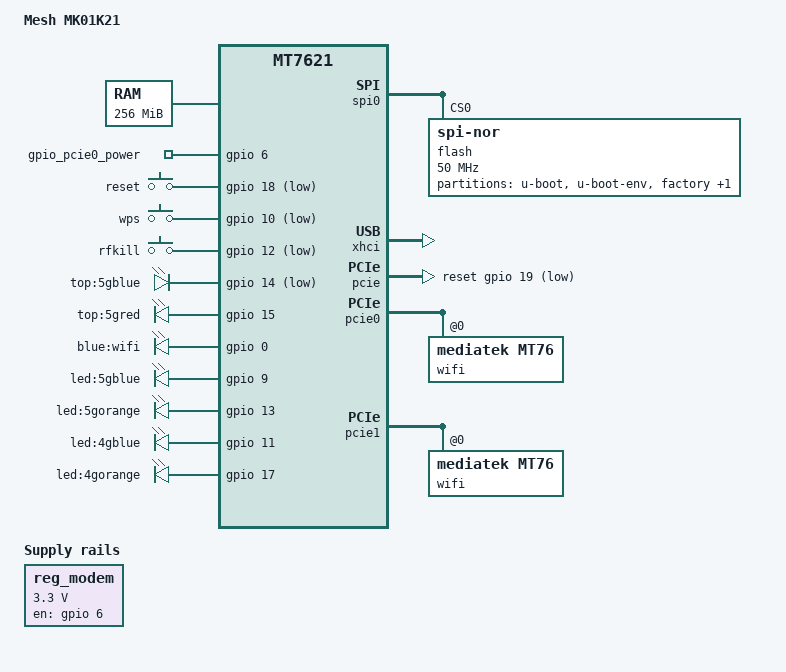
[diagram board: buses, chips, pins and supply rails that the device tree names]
// SPDX-License-Identifier: GPL-2.0-or-later OR MIT
/dts-v1/;

#include "mt7621.dtsi"

#include <dt-bindings/gpio/gpio.h>
#include <dt-bindings/input/input.h>
#include <dt-bindings/leds/common.h>

/ {
	compatible = "mesh,mk01k21", "mediatek,mt7621-soc";
	model = "Mesh MK01K21";

	aliases {
		led-boot = &led_top_5gblue;
		led-failsafe = &led_top_5gred;
		led-running = &led_top_5gblue;
		led-upgrade = &led_top_5gred;
		label-mac-device = &gmac0;
	};

	chosen {
		bootargs = "console=ttyS0,115200";
	};

	memory@0 {
		device_type = "memory";
		reg = <0x00000000 0x10000000>; /* 256MB DDR3 */
	};

	/* Modem Power Supply (GPIO 6 Active HIGH) */
	reg_modem: regulator-modem {
		compatible = "regulator-fixed";
		regulator-name = "modem_power";
		regulator-min-microvolt = <3300000>;
		regulator-max-microvolt = <3300000>;
		gpio = <&gpio 6 GPIO_ACTIVE_HIGH>;
		enable-active-high;
		regulator-always-on;
		regulator-boot-on;
	};

	/* OEM gpio-export compatibility node */
	gpio-export {
		compatible = "gpio-export";

		gpio_pcie0_power {
			gpio-export,output = <0>;
			gpios = <&gpio 6 GPIO_ACTIVE_HIGH>;
		};
	};

	/* Keys identical to OEM DTS */
	keys {
		compatible = "gpio-keys";

		reset {
			label = "reset";
			gpios = <&gpio 18 GPIO_ACTIVE_LOW>;
			linux,code = <KEY_RESTART>;
		};

		wps {
			label = "wps";
			gpios = <&gpio 10 GPIO_ACTIVE_LOW>;
			linux,code = <KEY_WPS_BUTTON>;
		};

		rfkill {
			label = "rfkill";
			gpios = <&gpio 12 GPIO_ACTIVE_LOW>;
			linux,code = <KEY_RFKILL>;
		};
	};

	/* LEDs identical to OEM DTS */
	leds {
		compatible = "gpio-leds";

		led_top_5gblue: status {
			label = "top:5gblue";
			gpios = <&gpio 14 GPIO_ACTIVE_LOW>;
		};

		led_top_5gred: 5gred {
			label = "top:5gred";
			gpios = <&gpio 15 GPIO_ACTIVE_HIGH>;
		};

		wifi {
			label = "blue:wifi";
			gpios = <&gpio 0 GPIO_ACTIVE_HIGH>;
		};

		5gblue {
			label = "led:5gblue";
			gpios = <&gpio 9 GPIO_ACTIVE_HIGH>;
		};

		5gorange {
			label = "led:5gorange";
			gpios = <&gpio 13 GPIO_ACTIVE_HIGH>;
		};

		4gblue {
			label = "led:4gblue";
			gpios = <&gpio 11 GPIO_ACTIVE_HIGH>;
		};

		4gorange {
			label = "led:4gorange";
			gpios = <&gpio 17 GPIO_ACTIVE_HIGH>;
		};
	};
};

/*
 * Critical MT7621 Pinctrl:
 * - "rgmii2" (GPIO 22-33): Muxed to "gpio" to eliminate GMAC1 interference with switch GMAC0.
 * - "sdhci" (GPIO 18-21): Muxed to "gpio" so GPIO 18 (reset button) works.
 * - "wdt", "jtag", "uart3": Muxed to "gpio" matching OEM behavior.
 */
&state_default {
	gpio {
		groups = "i2c", "uart2", "uart3", "rgmii2", "sdhci", "wdt", "jtag";
		function = "gpio";
	};
};

&spi0 {
	status = "okay";

	flash@0 {
		compatible = "jedec,spi-nor";
		reg = <0>;
		spi-max-frequency = <50000000>;

		partitions {
			compatible = "fixed-partitions";
			#address-cells = <1>;
			#size-cells = <1>;

			partition@0 {
				label = "u-boot";
				reg = <0x00000000 0x00030000>; /* 192KB */
				read-only;
			};

			partition@30000 {
				label = "u-boot-env";
				reg = <0x00030000 0x00010000>; /* 64KB */
				read-only;
			};

			factory: partition@40000 {
				label = "factory";
				reg = <0x00040000 0x00010000>; /* 64KB calibration data */
				read-only;

				nvmem-layout {
					compatible = "fixed-layout";
					#address-cells = <1>;
					#size-cells = <1>;

					/* OEM MAC address stored at offset 0xc00 */
					macaddr_factory_c00: macaddr@c00 {
						reg = <0xc00 0x6>;
					};
				};
			};

			partition@50000 {
				compatible = "openwrt,uimage", "denx,uimage";
				label = "firmware";
				reg = <0x00050000 0x00fb0000>; /* 16064KB */
			};
		};
	};
};

&gmac0 {
	nvmem-cells = <&macaddr_factory_c00>;
	nvmem-cell-names = "mac-address";
};

/*
 * Exact 3-Port DSA Switch Map (confirmed from OEM DTS):
 * - Port 0: wan (MAC at 0xc00 + 1)
 * - Port 1: lan2
 * - Port 2: lan1
 * - Port 3, 4: Disabled
 */
&switch0 {
	ports {
		port@0 {
			status = "okay";
			label = "wan";
			nvmem-cells = <&macaddr_factory_c00>;
			nvmem-cell-names = "mac-address";
			mac-address-increment = <1>;
		};

		port@1 {
			status = "okay";
			label = "lan2";
		};

		port@2 {
			status = "okay";
			label = "lan1";
		};

		port@3 {
			status = "disabled";
		};

		port@4 {
			status = "disabled";
		};
	};
};

/* USB 3.0 / 2.0 Host Controller for Quectel RM520N-GL */
&xhci {
	status = "okay";
};

/* PCIe Controller with OEM reset-gpios (GPIO 19 Active LOW) */
&pcie {
	status = "okay";
	reset-gpios = <&gpio 19 GPIO_ACTIVE_LOW>;
};

&pcie0 {
	status = "okay";

	wifi@0,0 {
		compatible = "mediatek,mt76";
		reg = <0x0000 0 0 0 0>;
		nvmem-cells = <&macaddr_factory_c00>;
        nvmem-cell-names = "mac-address";
	};
};

&pcie1 {
	status = "okay";

	wifi@0,0 {
		compatible = "mediatek,mt76";
		reg = <0x0000 0 0 0 0>;
		nvmem-cells = <&macaddr_factory_c00>;
        nvmem-cell-names = "mac-address";
	};
};
